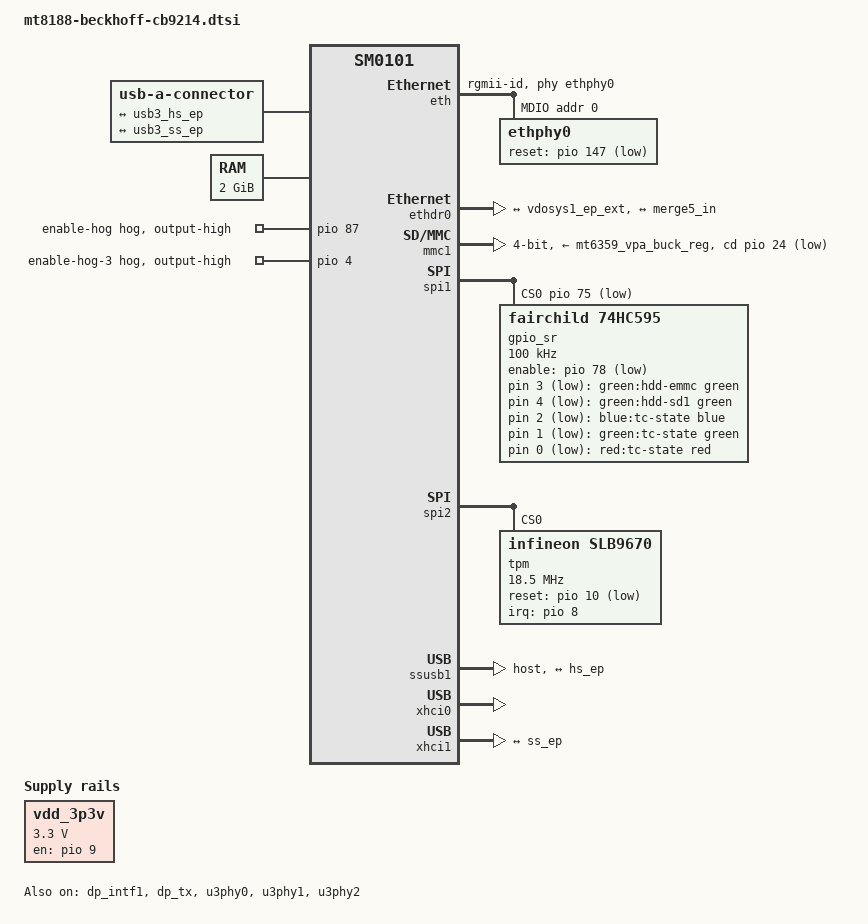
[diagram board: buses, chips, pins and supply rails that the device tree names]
// SPDX-License-Identifier: GPL-2.0 OR MIT
/*
 * Copyright (C) 2025 Beckhoff Automation GmbH & Co. KG
 */

#include "mt8188-beckhoff-sm0101.dtsi"

/*
 * SOM Interfaces used:
 *
 *		- UART 0 -> Debug
 *		- SPI1 -> 74HC595 (LED gpio)
 *		- GPIO_TPM -> TPM
 *		- SPI2 -> TPM (SLB9672)
 *		- DP0 -> Display out
 *		- EMMC -> EMMC (MSDC 0)
 *		- SDIO 1 -> SD Card 1 (MSDC 1)
 *		- GPIO 0 -> PC status (GPIO 00)
 *		- GPIO_1 -> PC on (GPIO 01)
 *		- GPIO_EXTPWR -> 3V3 enable (GPIO 09)
 *		- GPIO_PWRLED -> PWR LED (R/G/B)
 *		- USBP1 -> USB 3 Port
 *		- PCIE0 -> Realtek Phy
 *		- GBE0 -> B50212E
 */

/ {
	leds {
		compatible = "gpio-leds";

		status = "okay";

		led-hdd-emmc-green {
			color = <LED_COLOR_ID_GREEN>;
			default-state = "off";
			function = LED_FUNCTION_DISK;
			gpios = <&gpio_sr 3 GPIO_ACTIVE_LOW>;
			label = "green:hdd-emmc";
			linux,default-trigger = "mmc0";
		};

		led-hdd-sd1-green {
			color = <LED_COLOR_ID_GREEN>;
			default-state = "off";
			function = LED_FUNCTION_DISK;
			gpios = <&gpio_sr 4 GPIO_ACTIVE_LOW>;
			label = "green:hdd-sd1";
			linux,default-trigger = "mmc1";
		};

		led-tc-state-blue {
			color = <LED_COLOR_ID_BLUE>;
			default-state = "off";
			function = LED_FUNCTION_STATUS;
			gpios = <&gpio_sr 2 GPIO_ACTIVE_LOW>;
			label = "blue:tc-state";
			linux,default-trigger = "none";
		};

		led-tc-state-green {
			color = <LED_COLOR_ID_GREEN>;
			default-state = "off";
			function = LED_FUNCTION_STATUS;
			gpios = <&gpio_sr 1 GPIO_ACTIVE_LOW>;
			label = "green:tc-state";
			linux,default-trigger = "none";
		};

		led-tc-state-red {
			color = <LED_COLOR_ID_RED>;
			default-state = "off";
			function = LED_FUNCTION_STATUS;
			gpios = <&gpio_sr 0 GPIO_ACTIVE_LOW>;
			label = "red:tc-state";
			linux,default-trigger = "none";
		};
	};

	usb3_con: usb3-con {
		compatible = "usb-a-connector";
		label = "USB-A";

		ports {
			#address-cells = <1>;
			#size-cells = <0>;

			port@0 {
				reg = <0>;

				hs_ep: endpoint {
					remote-endpoint = <&usb3_hs_ep>;
				};
			};

			port@1 {
				reg = <1>;

				ss_ep: endpoint {
					remote-endpoint = <&usb3_ss_ep>;
				};
			};
		};
	};

	vdd_3p3v: vdd-3p3v {
		compatible = "regulator-fixed";
		enable-active-high;
		gpio = <&pio 9 GPIO_ACTIVE_HIGH>;
		regulator-always-on;
		regulator-boot-on;
		regulator-max-microvolt = <3300000>;
		regulator-min-microvolt = <3300000>;
		regulator-name = "vdd-3.3V";
	};

	memory@40000000 {
		reg = <0 0x40000000 0x0 0x80000000>;
		device_type = "memory";
	};
};

&dp_intf1 {
	status = "okay";

	ports {
		#address-cells = <1>;
		#size-cells = <0>;

		port@0 {
			reg = <0>;
			#address-cells = <1>;
			#size-cells = <0>;

			dp_intf1_in: endpoint@1 {
				reg = <1>;
				remote-endpoint = <&merge5_out>;
			};
		};

		port@1 {
			reg = <1>;
			#address-cells = <1>;
			#size-cells = <0>;

			dp_intf1_out: endpoint@1 {
				reg = <1>;
				remote-endpoint = <&dptx_in>;
			};
		};
	};
};

&dp_tx {
	pinctrl-0 = <&dp_tx_hpd>;
	pinctrl-names = "default";
	#sound-dai-cells = <0>;

	status = "okay";

	ports {
		#address-cells = <1>;
		#size-cells = <0>;

		port@0 {
			reg = <0>;

			dptx_in: endpoint {
				remote-endpoint = <&dp_intf1_out>;
			};
		};

		port@1 {
			reg = <1>;

			dptx_out: endpoint {
				data-lanes = <0 1 2 3>;
			};
		};
	};
};

&eth {
	nvmem-cells = <&eth0_addr>;
	nvmem-cell-names = "mac-address";
	phy-handle = <&ethphy0>;
	phy-mode = "rgmii-id";
	pinctrl-0 = <&ethdefault>;
	pinctrl-1 = <&ethsleep>;
	pinctrl-names = "default", "sleep";
	mediatek,mac-wol;

	status = "okay";

	mdio {
		compatible = "snps,dwmac-mdio";
		#address-cells = <1>;
		#size-cells = <0>;

		ethphy0: ethphy0@0 {
			reg = <0x0>;
			eee-broken-100tx;
			eee-broken-1000t;
			reset-assert-us = <10000>;
			reset-deassert-us = <10000>;
			reset-gpios = <&pio 147 GPIO_ACTIVE_LOW>;
		};
	};
};

&ethdr0 {
	ports {
		#address-cells = <1>;
		#size-cells = <0>;

		port@0 {
			reg = <0>;
			#address-cells = <1>;
			#size-cells = <0>;

			ethdr0_in: endpoint@1 {
				reg = <1>;
				remote-endpoint = <&vdosys1_ep_ext>;
			};
		};

		port@1 {
			reg = <1>;
			#address-cells = <1>;
			#size-cells = <0>;

			ethdr0_out: endpoint@1 {
				reg = <1>;
				remote-endpoint = <&merge5_in>;
			};
		};
	};
};

&merge5 {
	ports {
		#address-cells = <1>;
		#size-cells = <0>;

		port@0 {
			reg = <0>;
			#address-cells = <1>;
			#size-cells = <0>;

			merge5_in: endpoint@1 {
				reg = <1>;
				remote-endpoint = <&ethdr0_out>;
			};
		};

		port@1 {
			reg = <1>;
			#address-cells = <1>;
			#size-cells = <0>;

			merge5_out: endpoint@1 {
				reg = <1>;
				remote-endpoint = <&dp_intf1_in>;
			};
		};
	};
};

&mmc1 {
	bus-width = <4>;
	cap-sd-highspeed;
	cd-gpios = <&pio 24 GPIO_ACTIVE_LOW>;
	max-frequency = <200000000>;
	no-mmc;
	no-sdio;
	pinctrl-0 = <&mmc1_pins_default>;
	pinctrl-1 = <&mmc1_pins_uhs>;
	pinctrl-names = "default", "state_uhs";
	sd-uhs-sdr50;
	sd-uhs-sdr104;
	vmmc-supply = <&mt6359_vpa_buck_reg>;
	vqmmc-supply = <&mt6359_vsim1_ldo_reg>;

	status = "okay";
};

&pio {
	status = "okay";

	dp_tx_hpd: dp-tx-hpd-pins {
		pins-dp-tx-hpd {
			pinmux = <PINMUX_GPIO46__FUNC_I0_DP_TX_HPD>;
		};
	};

	/* USBP1_EN */
	enable-hog {
		gpio-hog;
		gpios = <87 GPIO_ACTIVE_HIGH>;
		output-high;
	};

	/*
	 * Disable the UPS by default, because in the current
	 * hardware version it makes some problems like powering
	 * off the network chip.
	 */
	enable-hog-3 {
		gpio-hog;
		gpios = <4 GPIO_ACTIVE_HIGH>;
		output-high;
	};

	ethdefault: eth-default-pins {
		pins-cc {
			drive-strength = <MTK_DRIVE_8mA>;
			pinmux = <PINMUX_GPIO139__FUNC_B0_GBE_TXC>,
				 <PINMUX_GPIO140__FUNC_I0_GBE_RXC>,
				 <PINMUX_GPIO141__FUNC_I0_GBE_RXDV>,
				 <PINMUX_GPIO142__FUNC_O_GBE_TXEN>;
		};

		pins-mdio {
			drive-strength = <MTK_DRIVE_8mA>;
			input-enable;
			pinmux = <PINMUX_GPIO143__FUNC_O_GBE_MDC>,
				 <PINMUX_GPIO144__FUNC_B1_GBE_MDIO>;
		};

		pins-rxd {
			drive-strength = <MTK_DRIVE_8mA>;
			pinmux = <PINMUX_GPIO135__FUNC_I0_GBE_RXD3>,
				 <PINMUX_GPIO136__FUNC_I0_GBE_RXD2>,
				 <PINMUX_GPIO137__FUNC_I0_GBE_RXD1>,
				 <PINMUX_GPIO138__FUNC_I0_GBE_RXD0>;
		};

		pins-txd {
			drive-strength = <MTK_DRIVE_8mA>;
			pinmux = <PINMUX_GPIO131__FUNC_O_GBE_TXD3>,
				 <PINMUX_GPIO132__FUNC_O_GBE_TXD2>,
				 <PINMUX_GPIO133__FUNC_O_GBE_TXD1>,
				 <PINMUX_GPIO134__FUNC_O_GBE_TXD0>,
				 <PINMUX_GPIO147__FUNC_B_GPIO147>;
		};
	};

	ethsleep: eth-sleep-pins {
		pins-cc {
			pinmux = <PINMUX_GPIO139__FUNC_B_GPIO139>,
				 <PINMUX_GPIO140__FUNC_B_GPIO140>,
				 <PINMUX_GPIO141__FUNC_B_GPIO141>,
				 <PINMUX_GPIO142__FUNC_B_GPIO142>;
		};

		pins-mdio {
			bias-disable;
			input-disable;
			pinmux = <PINMUX_GPIO143__FUNC_B_GPIO143>,
				 <PINMUX_GPIO144__FUNC_B_GPIO144>;
		};

		pins-rxd {
			pinmux = <PINMUX_GPIO135__FUNC_B_GPIO135>,
				 <PINMUX_GPIO136__FUNC_B_GPIO136>,
				 <PINMUX_GPIO137__FUNC_B_GPIO137>,
				 <PINMUX_GPIO138__FUNC_B_GPIO138>;
		};

		pins-txd {
			pinmux = <PINMUX_GPIO131__FUNC_B_GPIO131>,
				 <PINMUX_GPIO132__FUNC_B_GPIO132>,
				 <PINMUX_GPIO133__FUNC_B_GPIO133>,
				 <PINMUX_GPIO134__FUNC_B_GPIO134>;
		};
	};

	mmc1_pins_default: mmc1-default-pins {
		pins-clk {
			bias-pull-down = <MTK_PUPD_SET_R1R0_10>;
			drive-strength = <MTK_DRIVE_6mA>;
			pinmux = <PINMUX_GPIO164__FUNC_B1_MSDC1_CLK>;
		};

		pins-cmd-dat {
			bias-pull-up = <MTK_PUPD_SET_R1R0_01>;
			drive-strength = <MTK_DRIVE_6mA>;
			input-enable;
			pinmux = <PINMUX_GPIO163__FUNC_B1_MSDC1_CMD>,
				 <PINMUX_GPIO165__FUNC_B1_MSDC1_DAT0>,
				 <PINMUX_GPIO166__FUNC_B1_MSDC1_DAT1>,
				 <PINMUX_GPIO167__FUNC_B1_MSDC1_DAT2>,
				 <PINMUX_GPIO168__FUNC_B1_MSDC1_DAT3>;
		};

		pins-insert {
			bias-pull-up;
			pinmux = <PINMUX_GPIO24__FUNC_B_GPIO24>;
		};
	};

	mmc1_pins_uhs: mmc1-uhs-pins {
		pins-clk {
			bias-pull-down = <MTK_PUPD_SET_R1R0_10>;
			drive-strength = <MTK_DRIVE_8mA>;
			pinmux = <PINMUX_GPIO164__FUNC_B1_MSDC1_CLK>;
		};

		pins-cmd-dat {
			bias-pull-up = <MTK_PUPD_SET_R1R0_01>;
			drive-strength = <MTK_DRIVE_8mA>;
			input-enable;
			pinmux = <PINMUX_GPIO163__FUNC_B1_MSDC1_CMD>,
				 <PINMUX_GPIO165__FUNC_B1_MSDC1_DAT0>,
				 <PINMUX_GPIO166__FUNC_B1_MSDC1_DAT1>,
				 <PINMUX_GPIO167__FUNC_B1_MSDC1_DAT2>,
				 <PINMUX_GPIO168__FUNC_B1_MSDC1_DAT3>;
		};

		pins-insert {
			bias-pull-up;
			pinmux = <PINMUX_GPIO24__FUNC_B_GPIO24>;
		};
	};

	spi1_pins_default: spi1-default-pins {
		pins-bus {
			bias-disable;
			pinmux = <PINMUX_GPIO75__FUNC_B_GPIO75>,
				 <PINMUX_GPIO76__FUNC_O_SPIM1_CLK>,
				 <PINMUX_GPIO77__FUNC_B0_SPIM1_MOSI>,
				 <PINMUX_GPIO78__FUNC_B_GPIO78>;
		};
	};

	spi2_pins_default: spi2-default-pins {
		pins-bus {
			bias-disable;
			pinmux = <PINMUX_GPIO79__FUNC_O_SPIM2_CSB>,
				 <PINMUX_GPIO80__FUNC_O_SPIM2_CLK>,
				 <PINMUX_GPIO81__FUNC_B0_SPIM2_MOSI>,
				 <PINMUX_GPIO82__FUNC_B0_SPIM2_MISO>;
		};

		pins-rst {
			bias-disable;
			pinmux = <PINMUX_GPIO10__FUNC_B_GPIO10>;
		};
	};
};

&spi1 {
	cs-gpios = <&pio 75 GPIO_ACTIVE_LOW>;
	num-cs = <1>;
	pinctrl-0 = <&spi1_pins_default>;
	pinctrl-names = "default";

	status = "okay";

	gpio_sr: gpio@0 {
		compatible = "fairchild,74hc595";
		reg = <0>;
		enable-gpios = <&pio 78 GPIO_ACTIVE_LOW>;
		#gpio-cells = <2>;
		gpio-controller;
		registers-number = <1>;
		spi-max-frequency = <100000>;
	};
};

&spi2 {
	num-cs = <1>;
	pinctrl-0 = <&spi2_pins_default>;
	pinctrl-names = "default";

	status = "okay";

	tpm@0 {
		compatible = "infineon,slb9670", "tcg,tpm_tis-spi";
		reg = <0>;
		interrupt-parent = <&pio>;
		interrupts = <8 IRQ_TYPE_LEVEL_LOW>;
		reset-gpios = <&pio 10 GPIO_ACTIVE_LOW>;
		spi-max-frequency = <18500000>;
	};
};

/* USB Port 1 -> USB 3 */
&ssusb1 {
	dr_mode = "host";
	usb-role-switch;
	vusb33-supply = <&mt6359_vusb_ldo_reg>;
	wakeup-source;

	status = "okay";

	port {
		usb3_hs_ep: endpoint {
			remote-endpoint = <&hs_ep>;
		};
	};
};

&u3phy0 {
	status = "okay";
};

&u3phy1 {
	status = "okay";
};

&u3phy2 {
	status = "okay";
};

&vdosys1 {
	port {
		#address-cells = <1>;
		#size-cells = <0>;

		vdosys1_ep_ext: endpoint@1 {
			reg = <1>;
			remote-endpoint = <&ethdr0_in>;
		};
	};
};

&xhci0 {
	status = "okay";
};

&xhci1 {
	vusb33-supply = <&mt6359_vusb_ldo_reg>;

	status = "okay";

	port {
		usb3_ss_ep: endpoint {
			remote-endpoint = <&ss_ep>;
		};
	};
};
